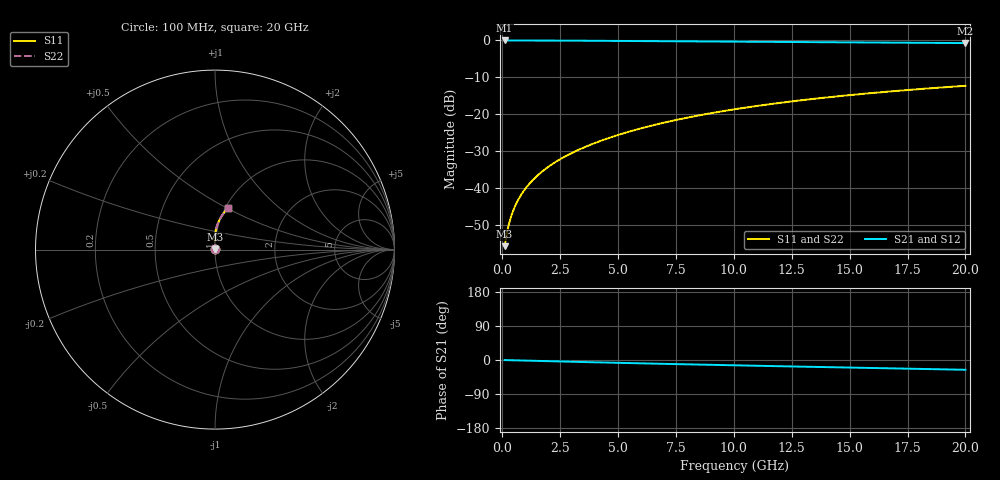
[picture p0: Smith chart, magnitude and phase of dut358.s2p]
! Touchstone file exported from HFSS 2024.1.0
!  File:  C:/UserFiles/LocalFiles/RDL_TSV_Batchsim/temp_RDL_bottom_358_1779612689.aedt
!  Generated:  04:53:58 PM May 24, 2026
!  Design:  RDL_bottom
!  Project:  temp_RDL_bottom_358_1779612689
!  Setup:  Setup1
!  Solution:  Sweep
! Variables:
!  dtsv = 10.80580581um
!  hbump = 3um
!  htsv = 79.08um
!  ldown = 349um
!  lrdl = 100um
!  p = 40
!  p1 = 56.31um
!  rhole = 1um
!  t = 450um
!  tdown = 4.45um
!  trdl = 3.915915916um
!  wdown = 27.7um
!  wrdl = 20um
# GHz S MA R 50.000000
! Terminal data exported
! Port[1] = RDL1_T1
! Port[2] = RDL1_T2
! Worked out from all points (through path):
!   200 points, 100 MHz to 20 GHz, reference 50 ohm
!   highest |S21| = -0.01 dB at 100 MHz (marker M1); lowest = -0.7 dB at 20 GHz (marker M2)
!   group delay of S21, straight-line fit = 3.52 ps
!   lowest |S11| = -55.9 dB at 100 MHz (marker M3), VSWR 1.00, Z = 50.1 + j0.107 ohm
!   |S11| at or under -10 dB: start of sweep to end of sweep
!   |S22| runs from -55.9 to -12.3 dB; largest |S21 - S12| = 3.5e-15
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0.1  0.001611 41.6  0.9988 -0.2  0.9988 -0.2  0.001611 41.6
! Gamma 0 0 0 0
! Port Impedance 50 0 50 0
0.2  0.002453 58.6  0.9987 -0.3  0.9987 -0.3  0.002453 58.6
0.3  0.003356 66.2  0.9986 -0.5  0.9986 -0.5  0.003355 66.2
0.4  0.004258 70.7  0.9985 -0.6  0.9985 -0.6  0.004257 70.7
0.5  0.005158 73.8  0.9983 -0.8  0.9983 -0.8  0.005158 73.8
0.6  0.006062 76.2  0.9982 -1.0  0.9982 -1.0  0.006061 76.2
0.8  0.007886 79.5  0.998 -1.3  0.998 -1.3  0.007886 79.5
1.1  0.01067 82.8  0.9976 -1.7  0.9976 -1.7  0.01067 82.8
1.5  0.01447 85.5  0.9969 -2.4  0.9969 -2.4  0.01447 85.5
1.8  0.01739 86.9  0.9962 -2.8  0.9962 -2.8  0.01739 86.9
2.1  0.02035 87.9  0.9955 -3.3  0.9955 -3.3  0.02035 87.9
2.7  0.02645 89.4  0.9937 -4.2  0.9937 -4.2  0.02646 89.5
3.5  0.03496 90.6  0.9909 -5.4  0.9909 -5.4  0.03497 90.7
4.2  0.04276 91.2  0.9881 -6.4  0.9881 -6.4  0.04276 91.2
5  0.05205 91.3  0.9846 -7.5  0.9846 -7.5  0.05206 91.4
6.8  0.07418 90.5  0.9765 -9.9  0.9765 -9.9  0.07419 90.6
8.4  0.09479 89.0  0.9692 -12.0  0.9692 -12.0  0.09481 89.0
10.1  0.1171 86.8  0.9617 -14.1  0.9617 -14.1  0.1172 86.8
11.7  0.1382 84.6  0.9548 -16.1  0.9548 -16.1  0.1383 84.6
13.4  0.1604 82.1  0.9476 -18.1  0.9476 -18.1  0.1605 82.1
16.7  0.2023 77.3  0.9339 -22.0  0.9339 -22.0  0.2024 77.3
20  0.2421 72.7  0.9201 -25.8  0.9201 -25.8  0.2422 72.7
